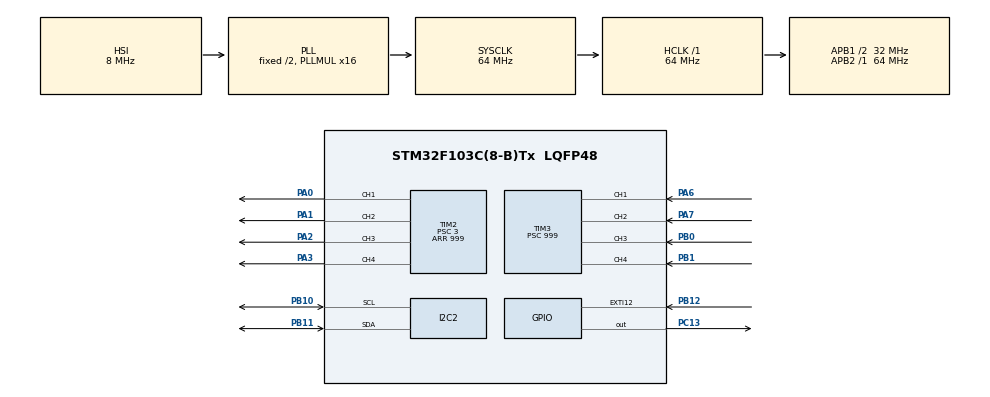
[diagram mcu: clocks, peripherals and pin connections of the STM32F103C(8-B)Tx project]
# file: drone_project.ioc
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Dma.I2C2_RX.1.Direction=DMA_PERIPH_TO_MEMORY
Dma.I2C2_RX.1.Instance=DMA1_Channel5
Dma.I2C2_RX.1.MemDataAlignment=DMA_MDATAALIGN_BYTE
Dma.I2C2_RX.1.MemInc=DMA_MINC_ENABLE
Dma.I2C2_RX.1.Mode=DMA_NORMAL
Dma.I2C2_RX.1.PeriphDataAlignment=DMA_PDATAALIGN_BYTE
Dma.I2C2_RX.1.PeriphInc=DMA_PINC_DISABLE
Dma.I2C2_RX.1.Priority=DMA_PRIORITY_HIGH
Dma.I2C2_TX.0.Direction=DMA_MEMORY_TO_PERIPH
Dma.I2C2_TX.0.Instance=DMA1_Channel4
Dma.I2C2_TX.0.MemDataAlignment=DMA_MDATAALIGN_BYTE
Dma.I2C2_TX.0.MemInc=DMA_MINC_ENABLE
Dma.I2C2_TX.0.Mode=DMA_NORMAL
Dma.I2C2_TX.0.PeriphDataAlignment=DMA_PDATAALIGN_BYTE
Dma.I2C2_TX.0.PeriphInc=DMA_PINC_DISABLE
Dma.I2C2_TX.0.Priority=DMA_PRIORITY_HIGH
Dma.Request0=I2C2_TX
Dma.Request1=I2C2_RX
FREERTOS.Mutexes01=xMutex,Dynamic,NULL,Available
FREERTOS.Tasks01=defaultTask,24,128,StartDefaultTask,Default,NULL,Dynamic,NULL,NULL;PIDTask,8,128,updatePID,Default,NULL,Dynamic,NULL,NULL;orientationTask,8,128,getOrientation,Default,NULL,Dynamic,NULL,NULL;inputsTask,8,128,getInputs,Default,NULL,Dynamic,NULL,NULL
FREERTOS.configUSE_NEWLIB_REENTRANT=1
I2C2.DutyCycle=I2C_DUTYCYCLE_16_9
I2C2.I2C_Mode=I2C_Fast
I2C2.NoStretchMode=I2C_NOSTRETCH_DISABLE
Mcu.Family=STM32F1
Mcu.Name=STM32F103C(8-B)Tx
Mcu.Package=LQFP48
NVIC.DMA1_Channel4_IRQn=true\:5\:0\:false\:false\:true\:true\:false\:true\:true
NVIC.DMA1_Channel5_IRQn=true\:5\:0\:false\:false\:true\:true\:false\:true\:true
NVIC.EXTI15_10_IRQn=true\:5\:0\:false\:false\:true\:true\:true\:true\:true
NVIC.I2C2_EV_IRQn=true\:5\:0\:false\:false\:true\:true\:true\:true\:true
NVIC.PriorityGroup=NVIC_PRIORITYGROUP_4
NVIC.TIM2_IRQn=true\:5\:0\:false\:false\:true\:true\:true\:true\:true
NVIC.TIM3_IRQn=true\:5\:0\:false\:false\:true\:true\:true\:true\:true
NVIC.TIM4_IRQn=true\:15\:0\:false\:false\:true\:false\:false\:true\:true
NVIC.TimeBase=TIM4_IRQn
NVIC.TimeBaseIP=TIM4
PA0-WKUP.Signal=S_TIM2_CH1_ETR
PA1.Signal=S_TIM2_CH2
PA13.Mode=Serial_Wire
PA13.Signal=SYS_JTMS-SWDIO
PA14.Mode=Serial_Wire
PA14.Signal=SYS_JTCK-SWCLK
PA2.Signal=S_TIM2_CH3
PA3.Signal=S_TIM2_CH4
PA6.Signal=S_TIM3_CH1
PA7.Signal=S_TIM3_CH2
PB0.Signal=S_TIM3_CH3
PB1.Signal=S_TIM3_CH4
PB10.Mode=I2C
PB10.Signal=I2C2_SCL
PB11.Mode=I2C
PB11.Signal=I2C2_SDA
PB12.Signal=GPXTI12
PC13-TAMPER-RTC.Signal=GPIO_Output
ProjectManager.HeapSize=0x200
ProjectManager.StackSize=0x400
ProjectManager.TargetToolchain=STM32CubeIDE
RCC.AHBFreq_Value=64000000
RCC.APB1CLKDivider=RCC_HCLK_DIV2
RCC.APB1Freq_Value=32000000
RCC.APB1TimFreq_Value=64000000
RCC.APB2Freq_Value=64000000
RCC.APB2TimFreq_Value=64000000
RCC.HCLKFreq_Value=64000000
RCC.PLLMUL=RCC_PLL_MUL16
RCC.SYSCLKFreq_VALUE=64000000
RCC.SYSCLKSource=RCC_SYSCLKSOURCE_PLLCLK
RCC.USBFreq_Value=64000000
SH.S_TIM2_CH1_ETR.0=TIM2_CH1,PWM Generation1 CH1
SH.S_TIM2_CH2.0=TIM2_CH2,PWM Generation2 CH2
SH.S_TIM2_CH3.0=TIM2_CH3,PWM Generation3 CH3
SH.S_TIM2_CH4.0=TIM2_CH4,PWM Generation4 CH4
SH.S_TIM3_CH1.0=TIM3_CH1,Input_Capture1_from_TI1
SH.S_TIM3_CH2.0=TIM3_CH2,Input_Capture2_from_TI2
SH.S_TIM3_CH3.0=TIM3_CH3,Input_Capture3_from_TI3
SH.S_TIM3_CH4.0=TIM3_CH4,Input_Capture4_from_TI4
TIM2.Channel-PWM\ Generation1\ CH1=TIM_CHANNEL_1
TIM2.Channel-PWM\ Generation2\ CH2=TIM_CHANNEL_2
TIM2.Channel-PWM\ Generation3\ CH3=TIM_CHANNEL_3
TIM2.Channel-PWM\ Generation4\ CH4=TIM_CHANNEL_4
TIM2.Period=999
TIM2.Prescaler=3
TIM3.Channel-Input_Capture1_from_TI1=TIM_CHANNEL_1
TIM3.Channel-Input_Capture2_from_TI2=TIM_CHANNEL_2
TIM3.Channel-Input_Capture3_from_TI3=TIM_CHANNEL_3
TIM3.Channel-Input_Capture4_from_TI4=TIM_CHANNEL_4
TIM3.Prescaler=999
VP_FREERTOS_VS_CMSIS_V2.Mode=CMSIS_V2
VP_SYS_VS_tim4.Mode=TIM4
board=custom

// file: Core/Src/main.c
/* USER CODE BEGIN Header */
/**
 ******************************************************************************
 * @file           : main.c
 * @brief          : Main program body
 ******************************************************************************
 * @attention
 *
 * Copyright (c) 2025 STMicroelectronics.
 * All rights reserved.
 *
 * This software is licensed under terms that can be found in the LICENSE file
 * in the root directory of this software component.
 * If no LICENSE file comes with this software, it is provided AS-IS.
 *
 ******************************************************************************
 */
/* USER CODE END Header */
#include "main.h"
#include "cmsis_os.h"

/* USER CODE BEGIN Includes */
#include "mpu6050_lib.h" //i2c interface with mpu6050
#include "drone_PID.h" //drone PID library made by me
/* USER CODE END Includes */

I2C_HandleTypeDef hi2c2;
DMA_HandleTypeDef hdma_i2c2_tx;
DMA_HandleTypeDef hdma_i2c2_rx;

TIM_HandleTypeDef htim2;
TIM_HandleTypeDef htim3;

/* Definitions for defaultTask */
osThreadId_t defaultTaskHandle;
const osThreadAttr_t defaultTask_attributes = {
												.name = "defaultTask",
												.stack_size = 128 * 4,
												.priority = (osPriority_t) osPriorityNormal,
};
/* Definitions for PIDTask */
osThreadId_t PIDTaskHandle;
const osThreadAttr_t PIDTask_attributes = {
											.name = "PIDTask",
											.stack_size = 128 * 4,
											.priority = (osPriority_t) osPriorityLow,
};
/* Definitions for orientationTask */
osThreadId_t orientationTaskHandle;
const osThreadAttr_t orientationTask_attributes = {
													.name = "orientationTask",
													.stack_size = 128 * 4,
													.priority = (osPriority_t) osPriorityLow,
};
/* Definitions for inputsTask */
osThreadId_t inputsTaskHandle;
const osThreadAttr_t inputsTask_attributes = {
												.name = "inputsTask",
												.stack_size = 128 * 4,
												.priority = (osPriority_t) osPriorityLow,
};
/* Definitions for xMutex */
osMutexId_t xMutexHandle;
const osMutexAttr_t xMutex_attributes = {
											.name = "xMutex"
};
/* USER CODE BEGIN PV */
mpu6050_sensor_data sensor_data_1;

uint16_t packetSize;
uint16_t fifoCount;
int a;
uint8_t fifoBuffer[64];

Quaternion q; //store quaternion data from MPU6050 sensor
VectorFloat gravity; //used to calculate ypr
float32_t ypr[3]; //yaw pitch roll data from sensor

//Variables for measuring PWM duty cycle from the channels of the HobbyKing controller's receiver.
uint16_t throttleCaptureIndex = 0; //TIM1 Channels 1 and 2
uint16_t yawCaptureIndex = 0; //TIM1 Channels 3 and 4
uint16_t pitchCaptureIndex = 0; //TIM2 Channels 1 and 2
uint16_t rollCaptureIndex = 0; //TIM2 Channels 3 and 4

uint32_t throttleInputCaptureValue1 = 0;
uint32_t throttleInputCaptureValue2 = 0;
uint32_t throttleDiffCapture = 0;

uint32_t yawInputCaptureValue1 = 0;
uint32_t yawInputCaptureValue2 = 0;
uint32_t yawDiffCapture = 0;

uint32_t pitchInputCaptureValue1 = 0;
uint32_t pitchInputCaptureValue2 = 0;
uint32_t pitchDiffCapture = 0;

uint32_t rollInputCaptureValue1 = 0;
uint32_t rollInputCaptureValue2 = 0;
uint32_t rollDiffCapture = 0;

//controller variables
drone_motor_controller drone_controller;
pid_controller pitch_PID_controller;
pid_controller roll_PID_controller;
/* USER CODE END PV */

void SystemClock_Config(void);
static void MX_GPIO_Init(void);
static void MX_DMA_Init(void);
static void MX_I2C2_Init(void);
static void MX_TIM2_Init(void);
static void MX_TIM3_Init(void);
void StartDefaultTask(void *argument);
void updatePID(void *argument);
void getOrientation(void *argument);
void getInputs(void *argument);

int main(void)
{

	/* MCU Configuration--------------------------------------------------------*/

	/* Reset of all peripherals, Initializes the Flash interface and the Systick. */
	HAL_Init();

	/* Configure the system clock */
	SystemClock_Config();

	/* Initialize all configured peripherals */
	MX_GPIO_Init();
	MX_DMA_Init();
	MX_I2C2_Init();
	MX_TIM2_Init();
	MX_TIM3_Init();
	/* USER CODE BEGIN 2 */

	//timer3 used for measuring duty cycle of incoming PWM signal of throttle, yaw, pitch and roll from receiver.
	if (HAL_TIM_IC_Start_IT(&htim3, TIM_CHANNEL_1) != HAL_OK) //CH1 Throttle
	{
		Error_Handler();  // Error starting input capture for channel 1
	}
	if (HAL_TIM_IC_Start_IT(&htim3, TIM_CHANNEL_2) != HAL_OK) //CH2 Yaw
	{
		Error_Handler();  // Error starting input capture for channel 2
	}
	if (HAL_TIM_IC_Start_IT(&htim3, TIM_CHANNEL_3) != HAL_OK) //CH3 Pitch
	{
		Error_Handler();  // Error starting input capture for channel 3
	}
	if (HAL_TIM_IC_Start_IT(&htim3, TIM_CHANNEL_4) != HAL_OK) //CH4 Roll
	{
		Error_Handler();  // Error starting input capture for channel 4
	}

	//timer2 used to generate pwm signals to send to motor drivers
	/* Start channel 1 */
	if (HAL_TIM_PWM_Start(&htim2, TIM_CHANNEL_1) != HAL_OK)
	{
	Error_Handler();
	}
	/* Start channel 2 */
	if (HAL_TIM_PWM_Start(&htim2, TIM_CHANNEL_2) != HAL_OK)
	{
	Error_Handler();
	}
	/* Start channel 3 */
	if (HAL_TIM_PWM_Start(&htim2, TIM_CHANNEL_3) != HAL_OK)
	{
	Error_Handler();
	}
	/* Start channel 4 */
	if (HAL_TIM_PWM_Start(&htim2, TIM_CHANNEL_4) != HAL_OK)
	{
	Error_Handler();
	}

	//change duty cycle
//	__HAL_TIM_SET_COMPARE(&htim2,TIM_CHANNEL_1,60);
//	__HAL_TIM_SET_COMPARE(&htim2,TIM_CHANNEL_1,800);
	//HAL i2c notes:
	//address of MPU6050 device is 1101000, but we shift it to left because the transmit and receive functions require that. So we are left with 0xD0
	//Argument to right of MPU6050_ADDR_LSL1 is the register address, see the register description in onenote.
	uint8_t reg_addr[1];
	/* We compute the MSB and LSB parts of the memory address */
	reg_addr[0] = (uint8_t) (0x6A);

	//delay for init functions to see if it stops glitch of i2c transmission never completing
	HAL_Delay(1000);
	HAL_GPIO_TogglePin(GPIOC, GPIO_PIN_13);
	HAL_Delay(100);
	HAL_GPIO_TogglePin(GPIOC, GPIO_PIN_13);
	HAL_Delay(100);
	HAL_GPIO_TogglePin(GPIOC, GPIO_PIN_13);
	HAL_Delay(100);
	HAL_GPIO_TogglePin(GPIOC, GPIO_PIN_13);

	//test if transmission works
	HAL_StatusTypeDef returnValue = HAL_I2C_Master_Transmit_DMA(&hi2c2, MPU6050_ADDR_LSL1, reg_addr, 1);
	while (HAL_I2C_GetState(&hi2c2) != HAL_I2C_STATE_READY);
	if (returnValue != HAL_OK)
	{
		Error_Handler();
	}
	if (__HAL_DMA_GET_FLAG(&hdma_i2c1_tx, (0x00000002U)))
	{ // Transfer error
		printf("DMA Transfer Error\n");
		// Handle error here
	}
	HAL_DMA_IRQHandler(&hdma_i2c2_tx);
	while (!i2c_TX_done);
	i2c_TX_done = 0;

	//setup storage for data
	// mpu6050_init(&hi2c2); //write to registers in mpu6050 to configure initial settings
	// moved to private variables to see values of attributes in structs in debug mode easier
	//	mpu6050_sensor_data sensor_data_1;
	//	kalman_filter filter1;

	mpu6050_init_dmp(&hi2c2); //initialize mpu6050 to use dmp

	setDMPEnabled(&hi2c2, true); //enable the dmp

	packetSize = 42; //FIXME, use this: packetSize = mpu.dmpGetFIFOPacketSize();

	//define starting position
	sensor_data_init(&sensor_data_1); //likely not necessary

	fifoCount = getFIFOCount(&hi2c2);
	fifoCount = getFIFOCount(&hi2c2);
	resetFIFO(&hi2c2);
	fifoCount = getFIFOCount(&hi2c2);
	fifoCount = getFIFOCount(&hi2c2);

	resetFIFO(&hi2c2);

	//setup PID controllers for pitch and roll
	initialize_PID(&pitch_PID_controller, 0);
	set_gains_PID(&pitch_PID_controller, 700, 0, 0);

	initialize_PID(&roll_PID_controller, 0);
	set_gains_PID(&roll_PID_controller, 700, 0, 0);

	//setup drone motor controller
	initialize_drone_motor_controller(&drone_controller, &pitch_PID_controller, &roll_PID_controller);

	/* USER CODE END 2 */

	/* Init scheduler */
	osKernelInitialize();
	/* Create the mutex(es) */
	/* creation of xMutex */
	xMutexHandle = osMutexNew(&xMutex_attributes);

	/* Create the thread(s) */
	/* creation of defaultTask */
	defaultTaskHandle = osThreadNew(StartDefaultTask, NULL, &defaultTask_attributes);

	/* creation of PIDTask */
	PIDTaskHandle = osThreadNew(updatePID, NULL, &PIDTask_attributes);

	/* creation of orientationTask */
	orientationTaskHandle = osThreadNew(getOrientation, NULL, &orientationTask_attributes);

	/* creation of inputsTask */
	inputsTaskHandle = osThreadNew(getInputs, NULL, &inputsTask_attributes);

	/* Start scheduler */
	osKernelStart();

	/* We should never get here as control is now taken by the scheduler */

	/* Infinite loop */
	while (1)
	{

	}
}

void SystemClock_Config(void)
{
	RCC_OscInitTypeDef RCC_OscInitStruct = {0};
	RCC_ClkInitTypeDef RCC_ClkInitStruct = {0};

	/** Initializes the RCC Oscillators according to the specified parameters
	 * in the RCC_OscInitTypeDef structure.
	 */
	RCC_OscInitStruct.OscillatorType = RCC_OSCILLATORTYPE_HSI;
	RCC_OscInitStruct.HSIState = RCC_HSI_ON;
	RCC_OscInitStruct.HSICalibrationValue = RCC_HSICALIBRATION_DEFAULT;
	RCC_OscInitStruct.PLL.PLLState = RCC_PLL_ON;
	RCC_OscInitStruct.PLL.PLLSource = RCC_PLLSOURCE_HSI_DIV2;
	RCC_OscInitStruct.PLL.PLLMUL = RCC_PLL_MUL16;
	if (HAL_RCC_OscConfig(&RCC_OscInitStruct) != HAL_OK)
	{
		Error_Handler();
	}

	/** Initializes the CPU, AHB and APB buses clocks
	 */
	RCC_ClkInitStruct.ClockType = RCC_CLOCKTYPE_HCLK | RCC_CLOCKTYPE_SYSCLK
			| RCC_CLOCKTYPE_PCLK1 | RCC_CLOCKTYPE_PCLK2;
	RCC_ClkInitStruct.SYSCLKSource = RCC_SYSCLKSOURCE_PLLCLK;
	RCC_ClkInitStruct.AHBCLKDivider = RCC_SYSCLK_DIV1;
	RCC_ClkInitStruct.APB1CLKDivider = RCC_HCLK_DIV2;
	RCC_ClkInitStruct.APB2CLKDivider = RCC_HCLK_DIV1;

	if (HAL_RCC_ClockConfig(&RCC_ClkInitStruct, FLASH_LATENCY_2) != HAL_OK)
	{
		Error_Handler();
	}
}

static void MX_I2C2_Init(void)
{

	hi2c2.Instance = I2C2;
	hi2c2.Init.ClockSpeed = 400000;
	hi2c2.Init.DutyCycle = I2C_DUTYCYCLE_16_9;
	hi2c2.Init.OwnAddress1 = 0;
	hi2c2.Init.AddressingMode = I2C_ADDRESSINGMODE_7BIT;
	hi2c2.Init.DualAddressMode = I2C_DUALADDRESS_DISABLE;
	hi2c2.Init.OwnAddress2 = 0;
	hi2c2.Init.GeneralCallMode = I2C_GENERALCALL_DISABLE;
	hi2c2.Init.NoStretchMode = I2C_NOSTRETCH_DISABLE;
	if (HAL_I2C_Init(&hi2c2) != HAL_OK)
	{
		Error_Handler();
	}

}

static void MX_TIM2_Init(void)
{

	TIM_MasterConfigTypeDef sMasterConfig = {0};
	TIM_OC_InitTypeDef sConfigOC = {0};

	htim2.Instance = TIM2;
	htim2.Init.Prescaler = 3;
	htim2.Init.CounterMode = TIM_COUNTERMODE_UP;
	htim2.Init.Period = 999;
	htim2.Init.ClockDivision = TIM_CLOCKDIVISION_DIV1;
	htim2.Init.AutoReloadPreload = TIM_AUTORELOAD_PRELOAD_DISABLE;
	if (HAL_TIM_PWM_Init(&htim2) != HAL_OK)
	{
		Error_Handler();
	}
	sMasterConfig.MasterOutputTrigger = TIM_TRGO_RESET;
	sMasterConfig.MasterSlaveMode = TIM_MASTERSLAVEMODE_DISABLE;
	if (HAL_TIMEx_MasterConfigSynchronization(&htim2, &sMasterConfig) != HAL_OK)
	{
		Error_Handler();
	}
	sConfigOC.OCMode = TIM_OCMODE_PWM1;
	sConfigOC.Pulse = 0;
	sConfigOC.OCPolarity = TIM_OCPOLARITY_HIGH;
	sConfigOC.OCFastMode = TIM_OCFAST_DISABLE;
	if (HAL_TIM_PWM_ConfigChannel(&htim2, &sConfigOC, TIM_CHANNEL_1) != HAL_OK)
	{
		Error_Handler();
	}
	if (HAL_TIM_PWM_ConfigChannel(&htim2, &sConfigOC, TIM_CHANNEL_2) != HAL_OK)
	{
		Error_Handler();
	}
	if (HAL_TIM_PWM_ConfigChannel(&htim2, &sConfigOC, TIM_CHANNEL_3) != HAL_OK)
	{
		Error_Handler();
	}
	if (HAL_TIM_PWM_ConfigChannel(&htim2, &sConfigOC, TIM_CHANNEL_4) != HAL_OK)
	{
		Error_Handler();
	}
	HAL_TIM_MspPostInit(&htim2);

}

static void MX_TIM3_Init(void)
{

	TIM_MasterConfigTypeDef sMasterConfig = {0};
	TIM_IC_InitTypeDef sConfigIC = {0};

	htim3.Instance = TIM3;
	htim3.Init.Prescaler = 999;
	htim3.Init.CounterMode = TIM_COUNTERMODE_UP;
	htim3.Init.Period = 65535;
	htim3.Init.ClockDivision = TIM_CLOCKDIVISION_DIV1;
	htim3.Init.AutoReloadPreload = TIM_AUTORELOAD_PRELOAD_DISABLE;
	if (HAL_TIM_IC_Init(&htim3) != HAL_OK)
	{
		Error_Handler();
	}
	sMasterConfig.MasterOutputTrigger = TIM_TRGO_RESET;
	sMasterConfig.MasterSlaveMode = TIM_MASTERSLAVEMODE_DISABLE;
	if (HAL_TIMEx_MasterConfigSynchronization(&htim3, &sMasterConfig) != HAL_OK)
	{
		Error_Handler();
	}
	sConfigIC.ICPolarity = TIM_INPUTCHANNELPOLARITY_RISING;
	sConfigIC.ICSelection = TIM_ICSELECTION_DIRECTTI;
	sConfigIC.ICPrescaler = TIM_ICPSC_DIV1;
	sConfigIC.ICFilter = 0;
	if (HAL_TIM_IC_ConfigChannel(&htim3, &sConfigIC, TIM_CHANNEL_1) != HAL_OK)
	{
		Error_Handler();
	}
	if (HAL_TIM_IC_ConfigChannel(&htim3, &sConfigIC, TIM_CHANNEL_2) != HAL_OK)
	{
		Error_Handler();
	}
	if (HAL_TIM_IC_ConfigChannel(&htim3, &sConfigIC, TIM_CHANNEL_3) != HAL_OK)
	{
		Error_Handler();
	}
	if (HAL_TIM_IC_ConfigChannel(&htim3, &sConfigIC, TIM_CHANNEL_4) != HAL_OK)
	{
		Error_Handler();
	}

}

static void MX_DMA_Init(void)
{

	/* DMA controller clock enable */
	__HAL_RCC_DMA1_CLK_ENABLE();

	/* DMA interrupt init */
	/* DMA1_Channel4_IRQn interrupt configuration */
	HAL_NVIC_SetPriority(DMA1_Channel4_IRQn, 5, 0);
	HAL_NVIC_EnableIRQ(DMA1_Channel4_IRQn);
	/* DMA1_Channel5_IRQn interrupt configuration */
	HAL_NVIC_SetPriority(DMA1_Channel5_IRQn, 5, 0);
	HAL_NVIC_EnableIRQ(DMA1_Channel5_IRQn);

}

static void MX_GPIO_Init(void)
{
	GPIO_InitTypeDef GPIO_InitStruct = {0};

	/* GPIO Ports Clock Enable */
	__HAL_RCC_GPIOC_CLK_ENABLE();
	__HAL_RCC_GPIOA_CLK_ENABLE();
	__HAL_RCC_GPIOB_CLK_ENABLE();

	/*Configure GPIO pin Output Level */
	HAL_GPIO_WritePin(GPIOC, GPIO_PIN_13, GPIO_PIN_RESET);

	/*Configure GPIO pin : PC13 */
	GPIO_InitStruct.Pin = GPIO_PIN_13;
	GPIO_InitStruct.Mode = GPIO_MODE_OUTPUT_PP;
	GPIO_InitStruct.Pull = GPIO_NOPULL;
	GPIO_InitStruct.Speed = GPIO_SPEED_FREQ_LOW;
	HAL_GPIO_Init(GPIOC, &GPIO_InitStruct);

	/*Configure GPIO pin : PB12 */
	GPIO_InitStruct.Pin = GPIO_PIN_12;
	GPIO_InitStruct.Mode = GPIO_MODE_IT_RISING;
	GPIO_InitStruct.Pull = GPIO_NOPULL;
	HAL_GPIO_Init(GPIOB, &GPIO_InitStruct);

	/* EXTI interrupt init*/
	HAL_NVIC_SetPriority(EXTI15_10_IRQn, 5, 0);
	HAL_NVIC_EnableIRQ(EXTI15_10_IRQn);

}

/* USER CODE BEGIN 4 */
//i2c callback functions, remember i2c interface is in mpu6050_lib.c
void HAL_I2C_MasterTxCpltCallback(I2C_HandleTypeDef *hi2c)
{
	i2c_TX_done = 1; //defined in mpu6050_lib.c
}
void HAL_I2C_MasterRxCpltCallback(I2C_HandleTypeDef *hi2c)
{
	i2c_RX_done = 1; //defined in mpu6050_lib.c
}
void HAL_GPIO_EXTI_Callback(uint16_t GPIO_Pin)
{
	if (GPIO_Pin == GPIO_PIN_12)
	{
		orientation_data_ready = 1; //defined in mpu6050_lib.c, get DMP data as soon as its ready from mpu6050
	}

}
void HAL_TIM_IC_CaptureCallback(TIM_HandleTypeDef *htim) //PWM duty cycle calculations, called when timer detects rising and falling edges
{ //most code based off of f303k8 TIM_InputCapture example from 1.11.15 firmware package, some is based off of chapter 11.3.5 of mastering stm32 book.
	if (htim->Instance == TIM3)
	{
		if (htim->Channel == HAL_TIM_ACTIVE_CHANNEL_1)
		{
			if (throttleCaptureIndex == 0)
			{
				throttleInputCaptureValue1 = HAL_TIM_ReadCapturedValue(htim, TIM_CHANNEL_1);
				throttleCaptureIndex = 1;

				//change polarity so that next time the falling edge is detected
				htim->Instance->CCER &= ~TIM_CCER_CC1E;     // Disable channel
				htim->Instance->CCER |= TIM_CCER_CC1P;      // Toggle polarity
				htim->Instance->CCER |= TIM_CCER_CC1E;      // Re-enable channel
			}
			else if (throttleCaptureIndex == 1)
			{
				throttleInputCaptureValue2 = HAL_TIM_ReadCapturedValue(htim, TIM_CHANNEL_1);
				if (throttleInputCaptureValue2 > throttleInputCaptureValue1)
				{
					throttleDiffCapture = throttleInputCaptureValue2 - throttleInputCaptureValue1;
				}
				else if (throttleInputCaptureValue2 < throttleInputCaptureValue1)
				{
					throttleDiffCapture = (htim->Instance->ARR - throttleInputCaptureValue1) + throttleInputCaptureValue2;
				}
				else
				{
					/* If capture values are equal, we have reached the limit of frequency
					 measures */
					Error_Handler();
				}
				//				uint32_t uwFrequency = HAL_RCC_GetPCLK2Freq();
				throttleCaptureIndex = 0;

				//change polarity so that next time the rising  edge is detected
				htim->Instance->CCER &= ~TIM_CCER_CC1E;     // Disable channel
				htim->Instance->CCER &= ~TIM_CCER_CC1P;      // Toggle polarity
				htim->Instance->CCER |= TIM_CCER_CC1E;      // Re-enable channel
			}

		}
		else if (htim->Channel == HAL_TIM_ACTIVE_CHANNEL_2)
		{
			if (yawCaptureIndex == 0)
			{
				yawInputCaptureValue1 = HAL_TIM_ReadCapturedValue(htim, TIM_CHANNEL_2);
				yawCaptureIndex = 1;

				htim->Instance->CCER &= ~TIM_CCER_CC2E;     // Disable channel
				htim->Instance->CCER |= TIM_CCER_CC2P;      // Toggle polarity
				htim->Instance->CCER |= TIM_CCER_CC2E;      // Re-enable channel
			}
			else if (yawCaptureIndex == 1)
			{
				yawInputCaptureValue2 = HAL_TIM_ReadCapturedValue(htim, TIM_CHANNEL_2);
				if (yawInputCaptureValue2 > yawInputCaptureValue1)
				{
					yawDiffCapture = yawInputCaptureValue2 - yawInputCaptureValue1;
				}
				else if (yawInputCaptureValue2 < yawInputCaptureValue1)
				{
					yawDiffCapture = (htim->Instance->ARR - yawInputCaptureValue1) + yawInputCaptureValue2;
				}
				else
				{
					/* If capture values are equal, we have reached the limit of frequency
					 measures */
					Error_Handler();
				}
				//				uint32_t uwFrequency = HAL_RCC_GetPCLK2Freq();
				yawCaptureIndex = 0;

				htim->Instance->CCER &= ~TIM_CCER_CC2E;     // Disable channel
				htim->Instance->CCER &= ~TIM_CCER_CC2P;      // Toggle polarity
				htim->Instance->CCER |= TIM_CCER_CC2E;      // Re-enable channel
			}

		}
		else if (htim->Channel == HAL_TIM_ACTIVE_CHANNEL_3)
		{
			if (pitchCaptureIndex == 0)
			{
				pitchInputCaptureValue1 = HAL_TIM_ReadCapturedValue(htim, TIM_CHANNEL_3);
				pitchCaptureIndex = 1;

				htim->Instance->CCER &= ~TIM_CCER_CC3E;     // Disable channel
				htim->Instance->CCER |= TIM_CCER_CC3P;      // Toggle polarity
				htim->Instance->CCER |= TIM_CCER_CC3E;      // Re-enable channel
			}
			else if (pitchCaptureIndex == 1)
			{
				pitchInputCaptureValue2 = HAL_TIM_ReadCapturedValue(htim, TIM_CHANNEL_3);
				if (pitchInputCaptureValue2 > pitchInputCaptureValue1)
				{
					pitchDiffCapture = pitchInputCaptureValue2 - pitchInputCaptureValue1;
				}
				else if (pitchInputCaptureValue2 < pitchInputCaptureValue1)
				{
					pitchDiffCapture = (htim->Instance->ARR - pitchInputCaptureValue1) + pitchInputCaptureValue2;
				}
				else
				{
					/* If capture values are equal, we have reached the limit of frequency
					 measures */
					Error_Handler();
				}
				//				uint32_t uwFrequency = HAL_RCC_GetPCLK2Freq();
				pitchCaptureIndex = 0;

				htim->Instance->CCER &= ~TIM_CCER_CC3E;     // Disable channel
				htim->Instance->CCER &= ~TIM_CCER_CC3P;      // Toggle polarity
				htim->Instance->CCER |= TIM_CCER_CC3E;      // Re-enable channel
			}
		}
		else if (htim->Channel == HAL_TIM_ACTIVE_CHANNEL_4)
		{
			if (rollCaptureIndex == 0)
			{
				rollInputCaptureValue1 = HAL_TIM_ReadCapturedValue(htim, TIM_CHANNEL_4);
				rollCaptureIndex = 1;

				htim->Instance->CCER &= ~TIM_CCER_CC4E;     // Disable channel
				htim->Instance->CCER |= TIM_CCER_CC4P;      // Toggle polarity
				htim->Instance->CCER |= TIM_CCER_CC4E;      // Re-enable channel
			}
			else if (rollCaptureIndex == 1)
			{
				rollInputCaptureValue2 = HAL_TIM_ReadCapturedValue(htim, TIM_CHANNEL_4);
				if (rollInputCaptureValue2 > rollInputCaptureValue1)
				{
					rollDiffCapture = rollInputCaptureValue2 - rollInputCaptureValue1;
				}
				else if (rollInputCaptureValue2 < rollInputCaptureValue1)
				{
					rollDiffCapture = (htim->Instance->ARR - rollInputCaptureValue1) + rollInputCaptureValue2;
				}
				else
				{
					/* If capture values are equal, we have reached the limit of frequency
					 measures */
					Error_Handler();
				}
				//				uint32_t uwFrequency = HAL_RCC_GetPCLK2Freq();
				rollCaptureIndex = 0;

				htim->Instance->CCER &= ~TIM_CCER_CC4E;     // Disable channel
				htim->Instance->CCER &= ~TIM_CCER_CC4P;      // Toggle polarity
				htim->Instance->CCER |= TIM_CCER_CC4E;      // Re-enable channel
			}
		}
	}

}
/* USER CODE END 4 */

void StartDefaultTask(void *argument)
{
	for (;;)
	{
		osDelay(1);
	}
}

void updatePID(void *argument)
{
	/* USER CODE BEGIN updatePID */
	/* Infinite loop */
	for (;;)
	{
		// The DiffCapture variables have values between 65 to 125, which represents 1ms to 2ms pulse time in ticks (ticks occur at a frequency of 64,000 Hz).
		// We want to map the pulse time of the PWM signal to desired tilt angles in radians.
		// The controllers are imperfect, so we set thresholds for DiffCapture values to be set at their max or min. Anything over 120 is considered max and anything below 80 is considered min.
		// The middle is 100 ticks of pulse width as a result, we subtract 100 to make the input 0 when joystick is in middle.
		// The max is now 20 and min is now -20. Now, we can scale appropriately to get our desired control input by dividing or multiplying.
		float32_t pitch_setpoint = ((int32_t) pitchDiffCapture-100);
		if(pitch_setpoint > 20)
		{
			pitch_setpoint = 20;
		} else if(pitch_setpoint < -20)
		{
			pitch_setpoint = -20;
		}
		pitch_setpoint = (pitch_setpoint/4)*3.14/180; //For pitch and roll, we scale appropriately so the max tilt angle setpoint back and forth is around 5 degrees, but converted to radians

		float32_t roll_setpoint = ((int32_t) rollDiffCapture-100);
		if(roll_setpoint > 20)
		{
			roll_setpoint = 20;
		} else if(roll_setpoint < -20)
		{
			roll_setpoint = -20;
		}
		roll_setpoint = (roll_setpoint/4)*3.14/180;

		float32_t yaw_signal = ((int32_t) yawDiffCapture-100)*5;
		if(yaw_signal > 100)
		{
			yaw_signal = 100;
		}
		if(yaw_signal < -100)
		{
			yaw_signal = -100;
		}

		float32_t throttle_signal = (throttleDiffCapture - 60)*17;
		if(throttle_signal > 950)
		{
			throttle_signal = 950;
		}
		if(throttle_signal < 0)
		{
			throttle_signal = 0;
		}
		update_PID(&pitch_PID_controller, ypr[1], pitch_setpoint);
		update_PID(&roll_PID_controller, ypr[2], roll_setpoint);
		update_signals(&drone_controller, throttle_signal, yaw_signal);
		update_motor_input(&drone_controller, &htim2);
		osDelay(1);
	}
	/* USER CODE END updatePID */
}

void getOrientation(void *argument)
{
	/* USER CODE BEGIN getOrientation */
	/* Infinite loop */
	for (;;)
	{
		//credits: https://github.com/Pluscrafter/i2cdevlib/blob/master/STM32_HAL/Nucleo-144F722ZE/Src/main.cpp

		while (!orientation_data_ready); //wait until external interrupt fires to get data when it is freshly ready
		if (osMutexAcquire(xMutexHandle, osWaitForever) == osOK) //try to aquire mutex
		{
			fifoCount = getFIFOCount(&hi2c2);
			while (fifoCount < packetSize)
			{
				//insert here your code
				fifoCount = getFIFOCount(&hi2c2);
			}
			if (fifoCount >= 1024)
			{
				resetFIFO(&hi2c2);
				//Serial.println(F("FIFO overflow!"));
			}
			else
			{
				if (fifoCount % packetSize != 0)
				{
					resetFIFO(&hi2c2);
					fifoCount = getFIFOCount(&hi2c2);
					//getFIFOBytes(&hi2c2, fifoBuffer, packetSize); //remove later
				}
				else
				{
					while (fifoCount >= packetSize)
					{

						getFIFOBytes(&hi2c2, fifoBuffer, packetSize);
						fifoCount -= packetSize;

					}
					dmpGetQuaternionQuatStruct(&q, fifoBuffer);
					dmpGetGravity(&gravity, &q);
					dmpGetYawPitchRoll(ypr, &q, &gravity);
				}
			}
			a++;

		}
		osMutexRelease(xMutexHandle);
		HAL_Delay(20);
		orientation_data_ready = 0;
	}
	/* USER CODE END getOrientation */
}

void getInputs(void *argument)
{
	for (;;)
	{
		osDelay(1);
	}
}

void HAL_TIM_PeriodElapsedCallback(TIM_HandleTypeDef *htim)
{
	if (htim->Instance == TIM4)
	{
		HAL_IncTick();
	}
}

void Error_Handler(void)
{
	__disable_irq();
	while (1)
	{
	}
}
